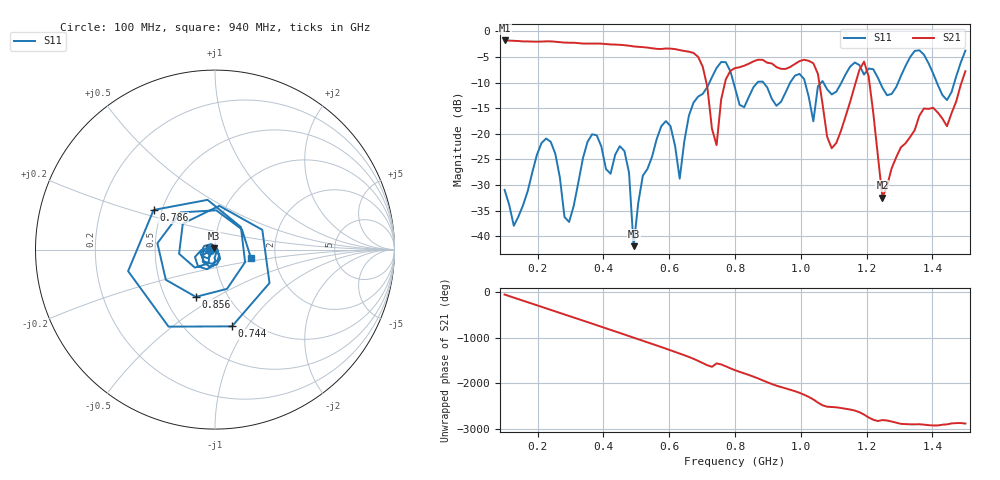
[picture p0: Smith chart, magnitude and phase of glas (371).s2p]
! NanoVNA-App
! Date: 2025-09-25 15:58:22
! Start: 100MHz Stop: 1,5GHz Points: 101
! S-Parameter data: F S11 S21 S12 S22
# Hz S RI R 50
!  Frequency  S11_Real  S11_Imag  S21_Real  S21_Imag  S12_Real  S12_Imag  S22_Real  S22_Imag
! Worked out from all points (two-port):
!   101 points, 100 MHz to 1.5 GHz, reference 50 ohm
!   highest |S21| = -1.80 dB at 100 MHz (marker M1); lowest = -32.4 dB at 1.248 GHz (marker M2)
!   |S21| within 3 dB of the highest: start of sweep to 684.4 MHz
!   lowest |S11| = -41.9 dB at 492 MHz (marker M3), VSWR 1.02, Z = 49.5 + j0.627 ohm
!   |S11| at or under -10 dB: start of sweep to 722.5 MHz; 795.5 MHz to 868.1 MHz (72.66 MHz wide, 8.73 % of centre); 886.2 MHz to 967.8 MHz (81.63 MHz wide, 8.81 % of centre) (the widest 3 of 7)
!   S12 and S22 are empty: the file has one direction only
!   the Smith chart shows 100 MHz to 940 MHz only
!   S11 on the Smith chart (normalised r, x): 100 MHz: 0.95, -0.01; 744 MHz: 0.81, -0.85; 786 MHz: 0.45, +0.24; 856 MHz: 0.71, -0.41; 940 MHz: 1.49, -0.14
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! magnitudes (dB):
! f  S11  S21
! 100 MHz  -30.9  -1.8
! 128 MHz  -37.9  -1.9
! 226 MHz  -20.9  -2.0
! 296 MHz  -37.2  -2.2
! 338 MHz  -24.8  -2.4
! 464 MHz  -23.4  -2.7
! 492 MHz  -41.9  -3.0
! 576 MHz  -18.5  -3.5
! 632 MHz  -28.8  -3.7
! 702 MHz  -12.2  -6.9
! 744 MHz  -7.2  -22.2
! 786 MHz  -7.8  -7.7
! 800 MHz  -11.1  -7.2
! 856 MHz  -10.9  -5.9
! 940 MHz  -13.7  -7.3
! 996 MHz  -8.3  -5.8
! 1.038 GHz  -17.6  -6.2
! 1.094 GHz  -12.3  -22.8
! 1.192 GHz  -8.5  -5.9
! 1.248 GHz  -11.0  -32.4
! 1.276 GHz  -12.2  -26.7
! 1.5 GHz  -3.8  -7.8
